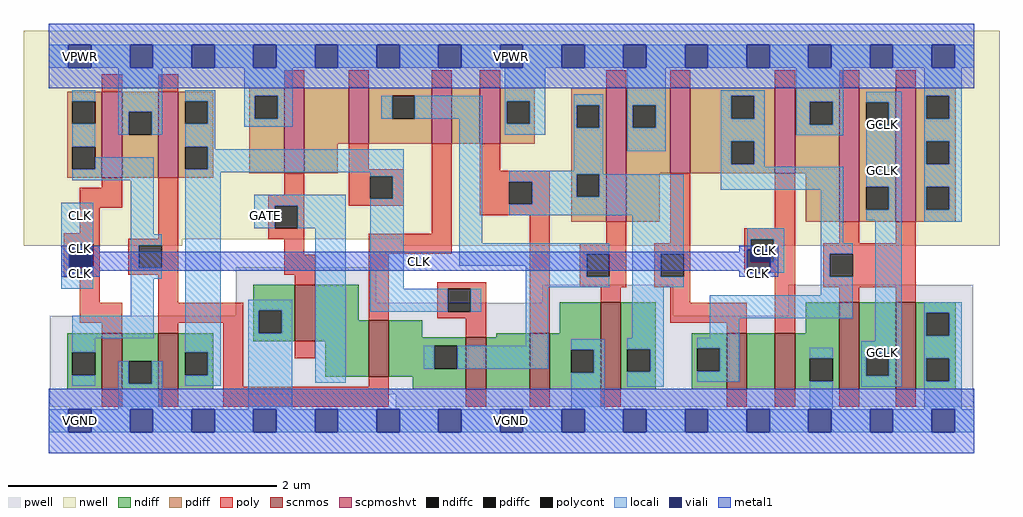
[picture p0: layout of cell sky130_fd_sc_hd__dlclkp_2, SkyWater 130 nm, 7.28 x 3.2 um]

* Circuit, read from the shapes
.subckt sky130_fd_sc_hd__dlclkp_2 CLK GATE VGND VNB VPB VPWR GCLK
XM1 VGND CLK n1 VNB sky130_fd_pr__nfet_01v8 w=0.42 l=0.15
XM2 n2 n1 VGND VNB sky130_fd_pr__nfet_01v8 w=0.42 l=0.15
XM3 n3 GATE VGND VNB sky130_fd_pr__nfet_01v8 w=0.42 l=0.15
XM4 n4 n1 n3 VNB sky130_fd_pr__nfet_01v8 w=0.42 l=0.15
XM5 n5 n2 n4 VNB sky130_fd_pr__nfet_01v8 w=0.39 l=0.15
XM6 VGND n6 n5 VNB sky130_fd_pr__nfet_01v8 w=0.42 l=0.15
XM7 n6 n4 VGND VNB sky130_fd_pr__nfet_01v8 w=0.65 l=0.15
XM8 n7 n6 n8 VNB sky130_fd_pr__nfet_01v8 w=0.42 l=0.15
XM9 VGND CLK n7 VNB sky130_fd_pr__nfet_01v8 w=0.42 l=0.15
XM10 GCLK n8 VGND VNB sky130_fd_pr__nfet_01v8 w=0.65 l=0.15 m=2
XM11 VPWR CLK n1 VPB sky130_fd_pr__pfet_01v8_hvt w=0.64 l=0.15
XM12 n2 n1 VPWR VPB sky130_fd_pr__pfet_01v8_hvt w=0.64 l=0.15
XM13 n9 GATE VPWR VPB sky130_fd_pr__pfet_01v8_hvt w=0.64 l=0.15
XM14 n4 n2 n9 VPB sky130_fd_pr__pfet_01v8_hvt w=0.42 l=0.15
XM15 n10 n1 n4 VPB sky130_fd_pr__pfet_01v8_hvt w=0.42 l=0.15
XM16 VPWR n6 n10 VPB sky130_fd_pr__pfet_01v8_hvt w=0.42 l=0.15
XM17 VPWR n4 n6 VPB sky130_fd_pr__pfet_01v8_hvt w=1 l=0.15
XM18 n8 n6 VPWR VPB sky130_fd_pr__pfet_01v8_hvt w=0.64 l=0.15
XM19 VPWR CLK n8 VPB sky130_fd_pr__pfet_01v8_hvt w=0.64 l=0.15
XM20 GCLK n8 VPWR VPB sky130_fd_pr__pfet_01v8_hvt w=1 l=0.15 m=2
.ends

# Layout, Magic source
magic
tech sky130A
magscale 1 2
<< nwell >>
rect -38 271 1418 582
rect -38 261 199 271
rect 525 261 1418 271
<< pwell >>
rect 279 176 488 229
rect 736 176 931 203
rect 279 157 931 176
rect 1103 157 1379 203
rect 1 40 1379 157
rect 1 21 271 40
rect 517 21 1379 40
rect 30 -17 64 21
<< scnmos >>
rect 79 47 109 131
rect 163 47 193 131
rect 367 119 397 203
rect 477 66 507 150
rect 622 47 652 125
rect 717 47 747 131
rect 823 47 853 177
rect 1011 47 1041 131
rect 1083 47 1113 131
rect 1179 47 1209 177
rect 1263 47 1293 177
<< scpmoshvt >>
rect 79 363 109 491
rect 163 363 193 491
rect 351 369 381 497
rect 447 413 477 497
rect 571 413 601 497
rect 643 413 673 497
rect 831 297 861 497
rect 927 369 957 497
rect 1083 369 1113 497
rect 1179 297 1209 497
rect 1263 297 1293 497
<< ndiff >>
rect 27 102 79 131
rect 27 68 35 102
rect 69 68 79 102
rect 27 47 79 68
rect 109 89 163 131
rect 109 55 119 89
rect 153 55 163 89
rect 109 47 163 55
rect 193 102 245 131
rect 193 68 203 102
rect 237 68 245 102
rect 193 47 245 68
rect 305 165 367 203
rect 305 131 313 165
rect 347 131 367 165
rect 305 119 367 131
rect 397 150 462 203
rect 397 119 477 150
rect 412 66 477 119
rect 507 125 557 150
rect 762 131 823 177
rect 667 125 717 131
rect 507 112 622 125
rect 507 78 575 112
rect 609 78 622 112
rect 507 66 622 78
rect 543 47 622 66
rect 652 47 717 125
rect 747 106 823 131
rect 747 72 779 106
rect 813 72 823 106
rect 747 47 823 72
rect 853 107 905 177
rect 1129 131 1179 177
rect 853 73 863 107
rect 897 73 905 107
rect 853 47 905 73
rect 959 108 1011 131
rect 959 74 967 108
rect 1001 74 1011 108
rect 959 47 1011 74
rect 1041 47 1083 131
rect 1113 93 1179 131
rect 1113 59 1135 93
rect 1169 59 1179 93
rect 1113 47 1179 59
rect 1209 101 1263 177
rect 1209 67 1219 101
rect 1253 67 1263 101
rect 1209 47 1263 67
rect 1293 161 1353 177
rect 1293 127 1309 161
rect 1343 127 1353 161
rect 1293 93 1353 127
rect 1293 59 1309 93
rect 1343 59 1353 93
rect 1293 47 1353 59
<< pdiff >>
rect 27 477 79 491
rect 27 443 35 477
rect 69 443 79 477
rect 27 409 79 443
rect 27 375 35 409
rect 69 375 79 409
rect 27 363 79 375
rect 109 461 163 491
rect 109 427 119 461
rect 153 427 163 461
rect 109 363 163 427
rect 193 477 245 491
rect 193 443 203 477
rect 237 443 245 477
rect 193 409 245 443
rect 193 375 203 409
rect 237 375 245 409
rect 193 363 245 375
rect 299 485 351 497
rect 299 451 307 485
rect 341 451 351 485
rect 299 369 351 451
rect 381 413 447 497
rect 477 485 571 497
rect 477 451 512 485
rect 546 451 571 485
rect 477 413 571 451
rect 601 413 643 497
rect 673 477 725 497
rect 673 443 683 477
rect 717 443 725 477
rect 673 413 725 443
rect 779 471 831 497
rect 779 437 787 471
rect 821 437 831 471
rect 381 369 431 413
rect 779 368 831 437
rect 779 334 787 368
rect 821 334 831 368
rect 779 297 831 334
rect 861 471 927 497
rect 861 437 871 471
rect 905 437 927 471
rect 861 369 927 437
rect 957 485 1083 497
rect 957 451 1018 485
rect 1052 451 1083 485
rect 957 417 1083 451
rect 957 383 1018 417
rect 1052 383 1083 417
rect 957 369 1083 383
rect 1113 476 1179 497
rect 1113 442 1135 476
rect 1169 442 1179 476
rect 1113 369 1179 442
rect 861 297 911 369
rect 1129 297 1179 369
rect 1209 475 1263 497
rect 1209 441 1219 475
rect 1253 441 1263 475
rect 1209 349 1263 441
rect 1209 315 1219 349
rect 1253 315 1263 349
rect 1209 297 1263 315
rect 1293 485 1353 497
rect 1293 451 1309 485
rect 1343 451 1353 485
rect 1293 417 1353 451
rect 1293 383 1309 417
rect 1343 383 1353 417
rect 1293 349 1353 383
rect 1293 315 1309 349
rect 1343 315 1353 349
rect 1293 297 1353 315
<< ndiffc >>
rect 35 68 69 102
rect 119 55 153 89
rect 203 68 237 102
rect 313 131 347 165
rect 575 78 609 112
rect 779 72 813 106
rect 863 73 897 107
rect 967 74 1001 108
rect 1135 59 1169 93
rect 1219 67 1253 101
rect 1309 127 1343 161
rect 1309 59 1343 93
<< pdiffc >>
rect 35 443 69 477
rect 35 375 69 409
rect 119 427 153 461
rect 203 443 237 477
rect 203 375 237 409
rect 307 451 341 485
rect 512 451 546 485
rect 683 443 717 477
rect 787 437 821 471
rect 787 334 821 368
rect 871 437 905 471
rect 1018 451 1052 485
rect 1018 383 1052 417
rect 1135 442 1169 476
rect 1219 441 1253 475
rect 1219 315 1253 349
rect 1309 451 1343 485
rect 1309 383 1343 417
rect 1309 315 1343 349
<< poly >>
rect 79 491 109 517
rect 163 491 193 517
rect 351 497 381 523
rect 447 497 477 523
rect 571 497 601 523
rect 643 497 673 523
rect 831 497 861 523
rect 927 497 957 523
rect 1083 497 1113 523
rect 1179 497 1209 523
rect 1263 497 1293 523
rect 447 375 477 413
rect 79 348 109 363
rect 46 318 109 348
rect 46 280 76 318
rect 22 264 76 280
rect 163 272 193 363
rect 351 337 381 369
rect 22 230 32 264
rect 66 230 76 264
rect 22 214 76 230
rect 118 262 193 272
rect 327 321 381 337
rect 447 365 529 375
rect 447 331 479 365
rect 513 331 529 365
rect 447 321 529 331
rect 327 287 337 321
rect 371 287 381 321
rect 327 271 381 287
rect 571 279 601 413
rect 643 373 673 413
rect 643 357 747 373
rect 643 323 687 357
rect 721 323 747 357
rect 643 307 747 323
rect 118 228 134 262
rect 168 228 193 262
rect 118 218 193 228
rect 351 248 381 271
rect 477 249 601 279
rect 351 218 397 248
rect 46 176 76 214
rect 163 176 193 218
rect 367 203 397 218
rect 46 146 109 176
rect 79 131 109 146
rect 163 146 290 176
rect 163 131 193 146
rect 260 51 290 146
rect 477 150 507 249
rect 579 197 652 207
rect 579 163 595 197
rect 629 163 652 197
rect 579 153 652 163
rect 367 93 397 119
rect 622 125 652 153
rect 717 131 747 307
rect 831 265 861 297
rect 927 265 957 369
rect 1083 287 1113 369
rect 792 249 861 265
rect 792 215 802 249
rect 836 215 861 249
rect 792 199 861 215
rect 903 249 957 265
rect 903 215 913 249
rect 947 215 957 249
rect 1037 271 1113 287
rect 1037 237 1047 271
rect 1081 237 1113 271
rect 1179 265 1209 297
rect 1263 265 1293 297
rect 1037 221 1113 237
rect 903 199 957 215
rect 823 177 853 199
rect 477 51 507 66
rect 79 21 109 47
rect 163 21 193 47
rect 260 21 507 51
rect 927 176 957 199
rect 927 146 1041 176
rect 1011 131 1041 146
rect 1083 131 1113 221
rect 1155 249 1293 265
rect 1155 215 1165 249
rect 1199 215 1293 249
rect 1155 199 1293 215
rect 1179 177 1209 199
rect 1263 177 1293 199
rect 622 21 652 47
rect 717 21 747 47
rect 823 21 853 47
rect 1011 21 1041 47
rect 1083 21 1113 47
rect 1179 21 1209 47
rect 1263 21 1293 47
<< polycont >>
rect 32 230 66 264
rect 479 331 513 365
rect 337 287 371 321
rect 687 323 721 357
rect 134 228 168 262
rect 595 163 629 197
rect 802 215 836 249
rect 913 215 947 249
rect 1047 237 1081 271
rect 1165 215 1199 249
<< locali >>
rect 0 527 29 561
rect 63 527 121 561
rect 155 527 213 561
rect 247 527 305 561
rect 339 527 397 561
rect 431 527 489 561
rect 523 527 581 561
rect 615 527 673 561
rect 707 527 765 561
rect 799 527 857 561
rect 891 527 949 561
rect 983 527 1041 561
rect 1075 527 1133 561
rect 1167 527 1225 561
rect 1259 527 1317 561
rect 1351 527 1380 561
rect 35 477 69 493
rect 35 409 69 443
rect 103 461 169 527
rect 103 427 119 461
rect 153 427 169 461
rect 203 477 248 493
rect 237 443 248 477
rect 203 409 248 443
rect 291 485 364 527
rect 291 451 307 485
rect 341 451 364 485
rect 496 451 512 485
rect 546 451 646 485
rect 291 439 364 451
rect 69 375 156 393
rect 35 359 156 375
rect 18 264 66 325
rect 18 255 32 264
rect 18 221 30 255
rect 64 221 66 230
rect 18 197 66 221
rect 122 278 156 359
rect 237 405 248 409
rect 237 375 529 405
rect 203 371 529 375
rect 122 262 168 278
rect 122 228 134 262
rect 122 212 168 228
rect 122 157 156 212
rect 35 123 156 157
rect 35 102 69 123
rect 203 102 256 371
rect 479 365 529 371
rect 306 321 443 337
rect 306 287 337 321
rect 371 287 443 321
rect 35 52 69 68
rect 103 55 119 89
rect 153 55 169 89
rect 103 17 169 55
rect 237 68 256 102
rect 203 52 256 68
rect 297 165 363 181
rect 297 131 313 165
rect 347 131 363 165
rect 297 17 363 131
rect 397 57 443 287
rect 513 331 529 365
rect 479 197 529 331
rect 612 265 646 451
rect 680 477 740 527
rect 680 443 683 477
rect 717 443 740 477
rect 680 427 740 443
rect 783 471 827 487
rect 783 437 787 471
rect 821 437 827 471
rect 783 373 827 437
rect 863 471 920 527
rect 863 437 871 471
rect 905 437 920 471
rect 863 402 920 437
rect 1002 485 1068 493
rect 1002 451 1018 485
rect 1052 451 1068 485
rect 1002 417 1068 451
rect 1115 476 1185 527
rect 1115 442 1135 476
rect 1169 442 1185 476
rect 1115 426 1185 442
rect 1219 475 1272 491
rect 1253 441 1272 475
rect 687 368 827 373
rect 1002 383 1018 417
rect 1052 383 1068 417
rect 1002 379 1068 383
rect 687 357 787 368
rect 721 334 787 357
rect 821 334 947 368
rect 1002 345 1185 379
rect 721 323 947 334
rect 687 307 947 323
rect 612 249 836 265
rect 612 231 802 249
rect 711 215 802 231
rect 711 199 836 215
rect 870 249 947 307
rect 870 215 913 249
rect 1042 271 1097 287
rect 1042 255 1047 271
rect 1081 237 1097 271
rect 1076 221 1097 237
rect 1151 265 1185 345
rect 1219 349 1272 441
rect 1253 315 1272 349
rect 1219 299 1272 315
rect 1151 249 1199 265
rect 870 199 947 215
rect 1151 215 1165 249
rect 479 163 595 197
rect 629 163 645 197
rect 711 112 745 199
rect 870 123 917 199
rect 1151 187 1199 215
rect 986 153 1199 187
rect 986 124 1030 153
rect 559 78 575 112
rect 609 78 745 112
rect 779 106 829 122
rect 813 72 829 106
rect 779 17 829 72
rect 863 107 917 123
rect 897 73 917 107
rect 863 51 917 73
rect 967 108 1030 124
rect 1233 119 1272 299
rect 1306 485 1362 527
rect 1306 451 1309 485
rect 1343 451 1362 485
rect 1306 417 1362 451
rect 1306 383 1309 417
rect 1343 383 1362 417
rect 1306 349 1362 383
rect 1306 315 1309 349
rect 1343 315 1362 349
rect 1306 297 1362 315
rect 1001 74 1030 108
rect 967 58 1030 74
rect 1135 93 1169 109
rect 1135 17 1169 59
rect 1212 101 1272 119
rect 1212 67 1219 101
rect 1253 67 1272 101
rect 1212 51 1272 67
rect 1306 161 1362 177
rect 1306 127 1309 161
rect 1343 127 1362 161
rect 1306 93 1362 127
rect 1306 59 1309 93
rect 1343 59 1362 93
rect 1306 17 1362 59
rect 0 -17 29 17
rect 63 -17 121 17
rect 155 -17 213 17
rect 247 -17 305 17
rect 339 -17 397 17
rect 431 -17 489 17
rect 523 -17 581 17
rect 615 -17 673 17
rect 707 -17 765 17
rect 799 -17 857 17
rect 891 -17 949 17
rect 983 -17 1041 17
rect 1075 -17 1133 17
rect 1167 -17 1225 17
rect 1259 -17 1317 17
rect 1351 -17 1380 17
<< viali >>
rect 29 527 63 561
rect 121 527 155 561
rect 213 527 247 561
rect 305 527 339 561
rect 397 527 431 561
rect 489 527 523 561
rect 581 527 615 561
rect 673 527 707 561
rect 765 527 799 561
rect 857 527 891 561
rect 949 527 983 561
rect 1041 527 1075 561
rect 1133 527 1167 561
rect 1225 527 1259 561
rect 1317 527 1351 561
rect 30 230 32 255
rect 32 230 64 255
rect 30 221 64 230
rect 1042 237 1047 255
rect 1047 237 1076 255
rect 1042 221 1076 237
rect 29 -17 63 17
rect 121 -17 155 17
rect 213 -17 247 17
rect 305 -17 339 17
rect 397 -17 431 17
rect 489 -17 523 17
rect 581 -17 615 17
rect 673 -17 707 17
rect 765 -17 799 17
rect 857 -17 891 17
rect 949 -17 983 17
rect 1041 -17 1075 17
rect 1133 -17 1167 17
rect 1225 -17 1259 17
rect 1317 -17 1351 17
<< metal1 >>
rect 0 561 1380 592
rect 0 527 29 561
rect 63 527 121 561
rect 155 527 213 561
rect 247 527 305 561
rect 339 527 397 561
rect 431 527 489 561
rect 523 527 581 561
rect 615 527 673 561
rect 707 527 765 561
rect 799 527 857 561
rect 891 527 949 561
rect 983 527 1041 561
rect 1075 527 1133 561
rect 1167 527 1225 561
rect 1259 527 1317 561
rect 1351 527 1380 561
rect 0 496 1380 527
rect 18 255 76 261
rect 18 221 30 255
rect 64 252 76 255
rect 1030 255 1088 261
rect 1030 252 1042 255
rect 64 224 1042 252
rect 64 221 76 224
rect 18 215 76 221
rect 1030 221 1042 224
rect 1076 221 1088 255
rect 1030 215 1088 221
rect 0 17 1380 48
rect 0 -17 29 17
rect 63 -17 121 17
rect 155 -17 213 17
rect 247 -17 305 17
rect 339 -17 397 17
rect 431 -17 489 17
rect 523 -17 581 17
rect 615 -17 673 17
rect 707 -17 765 17
rect 799 -17 857 17
rect 891 -17 949 17
rect 983 -17 1041 17
rect 1075 -17 1133 17
rect 1167 -17 1225 17
rect 1259 -17 1317 17
rect 1351 -17 1380 17
rect 0 -48 1380 -17
<< labels >>
flabel locali s 306 289 340 323 0 FreeSans 200 0 0 0 GATE
port 2 nsew signal input
flabel locali s 1226 85 1260 119 0 FreeSans 200 0 0 0 GCLK
port 7 nsew signal output
flabel locali s 1226 425 1260 459 0 FreeSans 200 0 0 0 GCLK
port 7 nsew signal output
flabel locali s 1226 357 1260 391 0 FreeSans 200 0 0 0 GCLK
port 7 nsew signal output
flabel locali s 30 289 64 323 0 FreeSans 200 0 0 0 CLK
port 1 nsew clock input
flabel metal1 s 30 -17 64 17 0 FreeSans 200 0 0 0 VGND
port 3 nsew ground bidirectional abutment
flabel metal1 s 30 527 64 561 0 FreeSans 200 0 0 0 VPWR
port 6 nsew power bidirectional abutment
flabel nwell s 30 527 64 561 0 FreeSans 200 0 0 0 VPB
port 5 nsew power bidirectional
flabel pwell s 30 -17 64 17 0 FreeSans 200 0 0 0 VNB
port 4 nsew ground bidirectional
rlabel comment s 0 0 0 0 4 dlclkp_2
rlabel locali s 1042 221 1097 287 1 CLK
port 1 nsew clock input
rlabel metal1 s 1030 252 1088 261 1 CLK
port 1 nsew clock input
rlabel metal1 s 1030 215 1088 224 1 CLK
port 1 nsew clock input
rlabel metal1 s 18 252 76 261 1 CLK
port 1 nsew clock input
rlabel metal1 s 18 224 1088 252 1 CLK
port 1 nsew clock input
rlabel metal1 s 18 215 76 224 1 CLK
port 1 nsew clock input
rlabel metal1 s 0 -48 1380 48 1 VGND
port 3 nsew ground bidirectional abutment
rlabel metal1 s 0 496 1380 592 1 VPWR
port 6 nsew power bidirectional abutment
<< properties >>
string FIXED_BBOX 0 0 1380 544
string GDS_END 2656564
string GDS_FILE $PDKPATH/libs.ref/sky130_fd_sc_hd/gds/sky130_fd_sc_hd.gds
string GDS_START 2646310
string LEFclass CORE
string LEFsite unithd
string LEFsymmetry X Y R90
string path 0.000 13.600 34.500 13.600 
<< end >>
